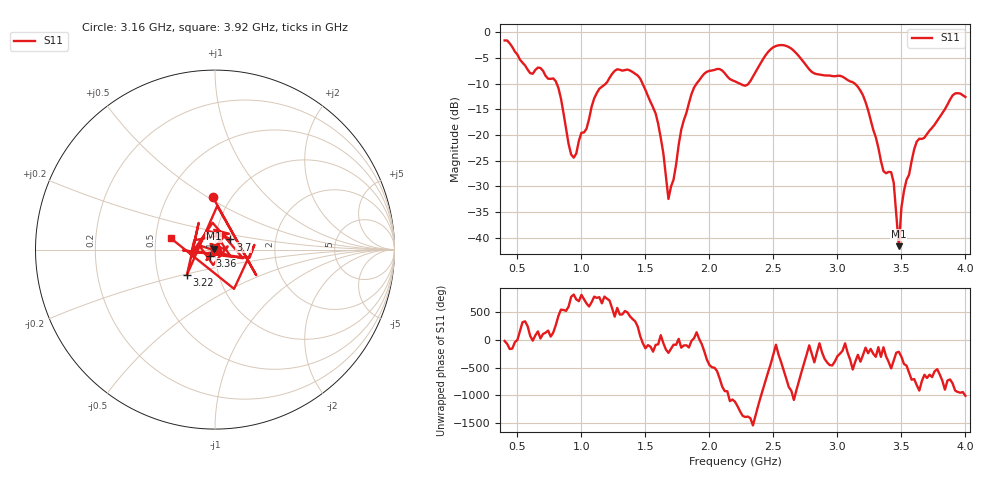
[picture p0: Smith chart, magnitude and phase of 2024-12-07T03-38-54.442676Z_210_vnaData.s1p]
!Created with skrf (http://scikit-rf.org).
# Hz S RI R 50.0
!freq ReS11 ImS11
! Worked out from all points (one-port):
!   181 points, 400 MHz to 4 GHz, reference 50 ohm
!   lowest |S11| = -41.7 dB at 3.48 GHz (marker M1), VSWR 1.02, Z = 49.3 + j0.444 ohm
!   |S11| at or under -10 dB: 807.4 MHz to 1.189 GHz (381.6 MHz wide, 38.2 % of centre); 1.478 GHz to 1.899 GHz (420.8 MHz wide, 24.9 % of centre); 3.136 GHz to end of sweep (the widest 3 of 4)
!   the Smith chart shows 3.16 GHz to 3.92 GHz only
!   S11 on the Smith chart (normalised r, x): 3.16 GHz: 0.82, +0.53; 3.22 GHz: 0.71, -0.21; 3.36 GHz: 0.94, -0.06; 3.7 GHz: 1.18, +0.13; 3.92 GHz: 0.60, +0.08
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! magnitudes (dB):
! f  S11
! 400 MHz  -1.6
! 800 MHz  -9.5
! 860 MHz  -15.7
! 940 MHz  -24.4
! 1.12 GHz  -11.8
! 1.3 GHz  -7.3
! 1.44 GHz  -8.4
! 1.58 GHz  -15.8
! 1.68 GHz  -32.5
! 1.76 GHz  -21.9
! 1.86 GHz  -12.0
! 1.96 GHz  -8.0
! 2.2 GHz  -9.5
! 2.3 GHz  -10.2
! 2.5 GHz  -2.9
! 2.66 GHz  -3.6
! 3.1 GHz  -9.6
! 3.16 GHz  -10.6
! 3.22 GHz  -13.6
! 3.36 GHz  -27.0
! 3.44 GHz  -29.3
! 3.48 GHz  -41.7
! 3.5 GHz  -34.2
! 3.56 GHz  -27.7
! 3.62 GHz  -21.3
! 3.7 GHz  -19.8
! 3.92 GHz  -11.9
! 4 GHz  -12.6
